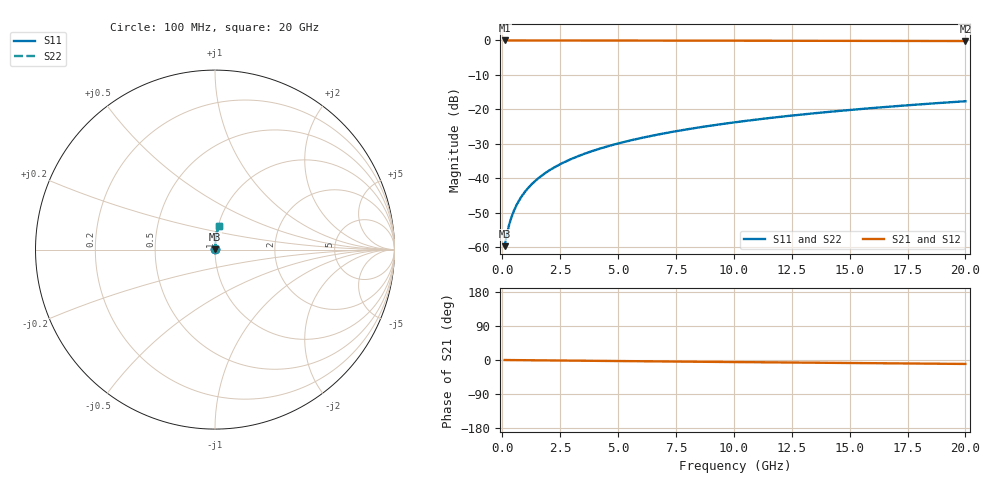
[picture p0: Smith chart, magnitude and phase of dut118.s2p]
! Touchstone file exported from HFSS 2024.1.0
!  File:  C:/UserFiles/LocalFiles/RDL_TSV_Batchsim/temp_RDL_top_118_1778683917.aedt
!  Generated:  10:53:53 PM May 13, 2026
!  Design:  RDL_top
!  Project:  temp_RDL_top_118_1778683917
!  Setup:  Setup1
!  Solution:  Sweep
! Variables:
!  dtsv = 10.80580581um
!  hbump = 3um
!  htsv = 67.47um
!  ldown = 100um
!  lrdl = 118.4um
!  p = 40
!  p1 = 40.52um
!  rhole = 1um
!  t = 450um
!  tdown = 3.915915916um
!  trdl = 4.79um
!  wdown = 15.38538539um
!  wrdl = 13.27um
# GHz S MA R 50.000000
! Terminal data exported
! Port[1] = Box2_T1
! Port[2] = Box2_T2
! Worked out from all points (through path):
!   200 points, 100 MHz to 20 GHz, reference 50 ohm
!   highest |S21| = -0.01 dB at 100 MHz (marker M1); lowest = -0.2 dB at 20 GHz (marker M2)
!   group delay of S21, straight-line fit = 1.44 ps
!   lowest |S11| = -59.7 dB at 100 MHz (marker M3), VSWR 1.00, Z = 50.1 + j0.0669 ohm
!   |S11| at or under -10 dB: start of sweep to end of sweep
!   |S22| runs from -59.7 to -17.7 dB; largest |S21 - S12| = 3.1e-15
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0.1  0.001031 40.4  0.9992 -0.1  0.9992 -0.1  0.001031 40.4
! Gamma 0 0 0 0
! Port Impedance 50 0 50 0
0.2  0.001551 58.7  0.9992 -0.1  0.9992 -0.1  0.001551 58.7
0.3  0.002137 67.2  0.9992 -0.2  0.9992 -0.2  0.002137 67.2
0.4  0.002741 71.9  0.9991 -0.2  0.9991 -0.2  0.002741 71.9
0.5  0.003354 75.0  0.9991 -0.3  0.9991 -0.3  0.003354 75.0
0.6  0.003971 77.2  0.9991 -0.3  0.9991 -0.3  0.003971 77.2
0.8  0.005215 80.0  0.999 -0.5  0.999 -0.5  0.005215 80.0
1.1  0.007095 82.5  0.999 -0.6  0.999 -0.6  0.007095 82.5
1.5  0.009619 84.2  0.9988 -0.9  0.9988 -0.9  0.009619 84.2
1.8  0.01152 85.0  0.9987 -1.0  0.9987 -1.0  0.01152 85.0
2.1  0.01342 85.5  0.9986 -1.2  0.9986 -1.2  0.01342 85.5
2.7  0.01723 86.2  0.9983 -1.5  0.9983 -1.5  0.01723 86.2
3.5  0.02232 86.6  0.9977 -2.0  0.9977 -2.0  0.02232 86.6
4.2  0.02679 86.8  0.9972 -2.4  0.9972 -2.4  0.02679 86.8
5  0.03191 86.9  0.9965 -2.8  0.9965 -2.8  0.03191 86.9
5.9  0.0377 86.9  0.9957 -3.3  0.9957 -3.3  0.0377 86.9
6.8  0.04353 86.7  0.9949 -3.8  0.9949 -3.8  0.04353 86.7
8.3  0.05332 86.4  0.9933 -4.5  0.9933 -4.5  0.05332 86.4
10.1  0.06518 85.9  0.9915 -5.5  0.9915 -5.5  0.06518 85.9
13.4  0.08714 84.6  0.9879 -7.1  0.9879 -7.1  0.08713 84.6
16.7  0.1091 83.0  0.9842 -8.8  0.9842 -8.8  0.1091 83.0
20  0.131 81.3  0.9803 -10.4  0.9803 -10.4  0.131 81.3
